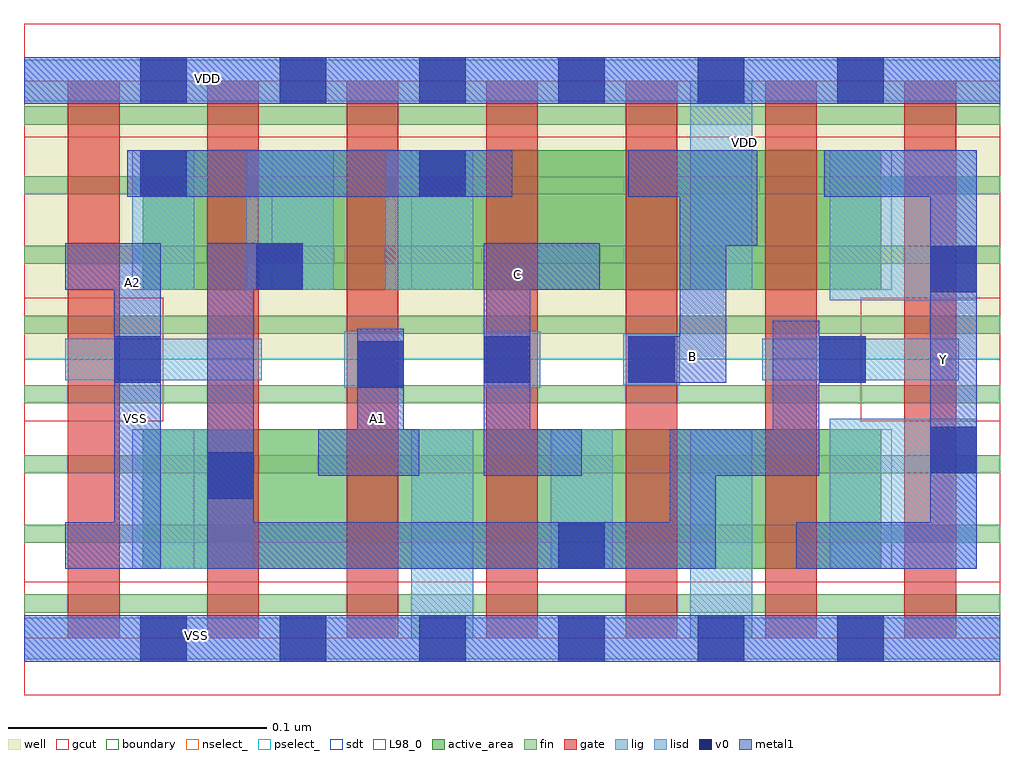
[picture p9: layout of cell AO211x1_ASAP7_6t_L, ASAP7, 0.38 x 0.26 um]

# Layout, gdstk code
import gdstk
lib = gdstk.Library(unit=1e-6, precision=2.5e-10)
def R(c, l, rs):  # rectangles x0, y0, x1, y1
    for r in rs: c.add(gdstk.rectangle(r[:2], r[2:], *l))
def A(c, l, x, y, w, h, nx, ny, dx, dy):  # array of equal rectangles
    R(c, l, [(x+i*dx, y+j*dy, x+i*dx+w, y+j*dy+h) for i in range(nx) for j in range(ny)])
def P(c, l, *ps):  # polygons
    for p in ps: c.add(gdstk.Polygon(p, *l))
well = (1, 0)
fin = (2, 0)
gate = (7, 0)
gcut = (10, 0)
active_area = (11, 0)
nselect_ = (12, 0)
pselect_ = (13, 0)
lig = (16, 0)
lisd = (17, 0)
v0 = (18, 0)
metal1 = (19, 0)
sdt = (88, 0)
L98_0 = (98, 0)
boundary = (100, 0)

ao211x1_asap7_6t_l = lib.new_cell('AO211x1_ASAP7_6t_L')
R(ao211x1_asap7_6t_l, well, [(0,0.108,0.378,0.216)])
A(ao211x1_asap7_6t_l, fin, 0, 0.01, 0.378, 0.007, 1, 7, 0, 0.027)
R(ao211x1_asap7_6t_l, fin, [(0,0.172,0.378,0.179), (0,0.199,0.378,0.206), (0,0.199,0.378,0.206)])
A(ao211x1_asap7_6t_l, gate, 0.017, 0, 0.02, 0.216, 7, 1, 0.054, 0)
R(ao211x1_asap7_6t_l, gcut, [(0,-0.022,0.378,0.022), (0,0.084,0.054,0.132), (0.324,0.084,0.378,0.132), (0,0.194,0.378,0.238)])
R(ao211x1_asap7_6t_l, active_area, [(0.046,0.027,0.278,0.081), (0.262,0.027,0.332,0.081), (0.046,0.135,0.278,0.189), (0.262,0.135,0.332,0.189)])
R(ao211x1_asap7_6t_l, nselect_, [(0,0,0.378,0.108)])
R(ao211x1_asap7_6t_l, pselect_, [(0,0.108,0.378,0.216)])
R(ao211x1_asap7_6t_l, lig, [(0,-0.008,0.378,0.008), (0.124,0.097,0.147,0.119), (0.178,0.097,0.2,0.119), (0.232,0.098,0.254,0.118), (0.016,0.1,0.092,0.116), (0.286,0.1,0.362,0.116), (0,0.208,0.378,0.224)])
R(ao211x1_asap7_6t_l, lisd, [(0.15,0,0.174,0.081), (0.258,0,0.282,0.081), (0.042,0.027,0.089,0.081), (0.204,0.027,0.228,0.081), (0.312,0.027,0.369,0.085), (0.312,0.131,0.369,0.189), (0.042,0.135,0.066,0.189), (0.086,0.135,0.12,0.189), (0.14,0.135,0.174,0.189), (0.258,0.135,0.282,0.216)])
A(ao211x1_asap7_6t_l, v0, 0.045, -0.009, 0.018, 0.018, 6, 2, 0.054, 0.216)
R(ao211x1_asap7_6t_l, v0, [(0.207,0.027,0.225,0.045), (0.071,0.054,0.089,0.072), (0.351,0.064,0.369,0.082), (0.129,0.097,0.147,0.115), (0.035,0.099,0.053,0.117), (0.178,0.099,0.196,0.117), (0.234,0.099,0.252,0.117), (0.308,0.099,0.326,0.117), (0.351,0.134,0.369,0.152), (0.09,0.135,0.108,0.153), (0.045,0.171,0.063,0.189), (0.153,0.171,0.171,0.189)])
R(ao211x1_asap7_6t_l, metal1, [(0,-0.009,0.378,0.009), (0.04,0.171,0.189,0.189), (0,0.207,0.378,0.225)])
P(ao211x1_asap7_6t_l, metal1, [(0.369,0.189),(0.31,0.189),(0.31,0.171),(0.351,0.171),(0.351,0.045),(0.299,0.045),(0.299,0.027),(0.369,0.027)],
  [(0.326,0.117),(0.308,0.117),(0.308,0.123),(0.29,0.123),(0.29,0.081),(0.25,0.081),(0.25,0.045),(0.089,0.045),(0.089,0.135),(0.108,0.135),(0.108,0.153),(0.071,0.153),(0.071,0.027),(0.268,0.027),(0.268,0.063),(0.308,0.063),(0.308,0.099),(0.326,0.099)],
  [(0.284,0.189),(0.234,0.189),(0.234,0.171),(0.254,0.171),(0.254,0.117),(0.234,0.117),(0.234,0.099),(0.272,0.099),(0.272,0.152),(0.284,0.152)],
  [(0.223,0.153),(0.178,0.153),(0.178,0.063),(0.216,0.063),(0.216,0.081),(0.196,0.081),(0.196,0.135),(0.223,0.135)],
  [(0.153,0.081),(0.147,0.081),(0.147,0.12),(0.129,0.12),(0.129,0.081),(0.114,0.081),(0.114,0.063),(0.153,0.063)],
  [(0.053,0.153),(0.016,0.153),(0.016,0.135),(0.035,0.135),(0.035,0.045),(0.016,0.045),(0.016,0.027),(0.053,0.027)])
A(ao211x1_asap7_6t_l, sdt, 0.15, 0.027, 0.024, 0.054, 3, 1, 0.054, 0)
A(ao211x1_asap7_6t_l, sdt, 0.042, 0.135, 0.024, 0.054, 3, 1, 0.054, 0)
R(ao211x1_asap7_6t_l, sdt, [(0.042,0.027,0.066,0.081), (0.258,0.027,0.282,0.081), (0.312,0.027,0.336,0.081), (0.312,0.027,0.336,0.081), (0.258,0.135,0.282,0.189), (0.258,0.135,0.282,0.189), (0.312,0.135,0.336,0.189), (0.312,0.135,0.336,0.189)])
R(ao211x1_asap7_6t_l, L98_0, [(0,0,0.378,0.216)])
R(ao211x1_asap7_6t_l, boundary, [(0,0,0.378,0.216)])
ao211x1_asap7_6t_l.add(gdstk.Label('VDD', (0.279,0.192), layer=1, texttype=251))
ao211x1_asap7_6t_l.add(gdstk.Label('VSS', (0.043,0.085), layer=3, texttype=251))
ao211x1_asap7_6t_l.add(gdstk.Label('VDD', (0.071,0.217), layer=19, texttype=251))
ao211x1_asap7_6t_l.add(gdstk.Label('C', (0.191,0.141), layer=19, texttype=251))
ao211x1_asap7_6t_l.add(gdstk.Label('Y', (0.356,0.108), layer=19, texttype=251))
ao211x1_asap7_6t_l.add(gdstk.Label('A2', (0.042,0.138), layer=19, texttype=251))
ao211x1_asap7_6t_l.add(gdstk.Label('B', (0.259,0.109), layer=19, texttype=251))
ao211x1_asap7_6t_l.add(gdstk.Label('A1', (0.137,0.085), layer=19, texttype=251))
ao211x1_asap7_6t_l.add(gdstk.Label('VSS', (0.067,0.001), layer=19, texttype=251))

lib.write_gds('AO211x1_ASAP7_6t_L.gds')
